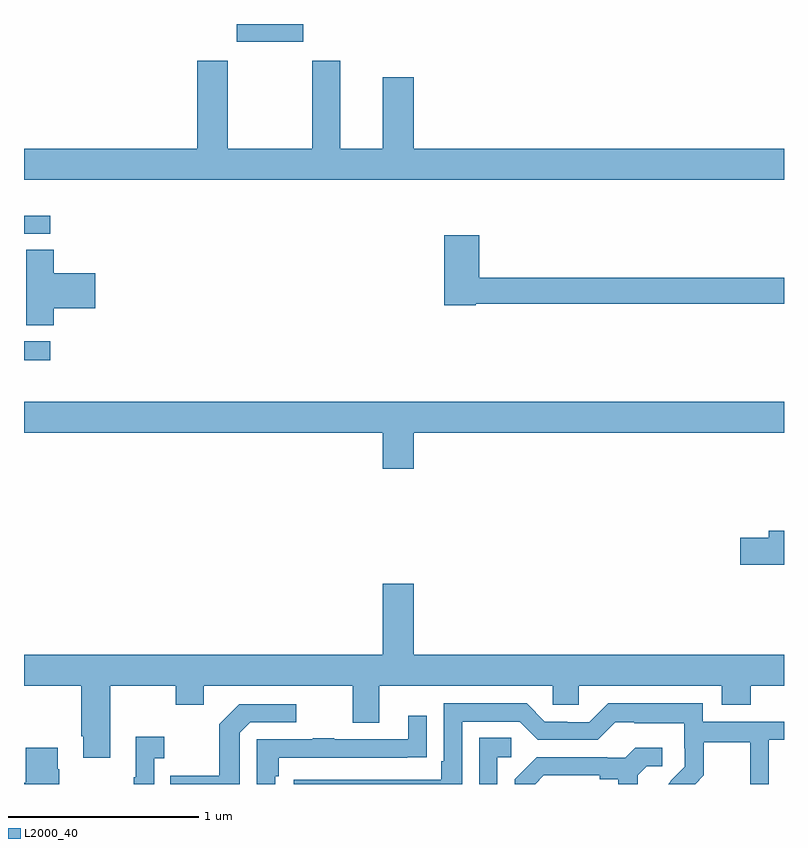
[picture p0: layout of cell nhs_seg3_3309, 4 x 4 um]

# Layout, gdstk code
import gdstk
lib = gdstk.Library(unit=1e-6, precision=1e-09)
def R(c, l, rs):  # rectangles x0, y0, x1, y1
    for r in rs: c.add(gdstk.rectangle(r[:2], r[2:], *l))
def P(c, l, *ps):  # polygons
    for p in ps: c.add(gdstk.Polygon(p, *l))
L2000_40 = (2000, 40)

nhs_seg3_3309 = lib.new_cell('nhs_seg3_3309')
R(nhs_seg3_3309, L2000_40, [(283,702.631,283.138,702.729), (283,703.296,283.138,703.392), (284.12,704.306,284.47,704.4)])
P(nhs_seg3_3309, L2000_40, [(287,703.744),(285.052,703.744),(285.052,704.119),(284.888,704.119),(284.888,703.744),(284.665,703.744),(284.665,704.206),(284.518,704.206),(284.518,703.744),(284.073,703.744),(284.073,704.206),(283.913,704.206),(283.913,703.744),(283,703.744),(283,703.58),(287,703.58)],
  [(285.378,702.928),(287,702.928),(287,703.064),(285.395,703.064),(285.395,703.288),(285.212,703.288),(285.212,702.92),(285.378,702.92)],
  [(283.157,702.905),(283.375,702.905),(283.375,703.088),(283.157,703.088),(283.157,703.211),(283.013,703.211),(283.013,702.814),(283.157,702.814)],
  [(285.052,702.248),(287,702.248),(287,702.412),(283,702.412),(283,702.248),(284.888,702.248),(284.888,702.06),(285.052,702.06)],
  [(287,701.732),(286.919,701.732),(286.919,701.696),(286.77,701.696),(286.77,701.554),(287,701.554)],
  [(283.453,700.916),(283.798,700.916),(283.798,700.817),(283.945,700.817),(283.945,700.916),(284.729,700.916),(284.729,700.722),(284.869,700.722),(284.869,700.916),(285.783,700.916),(285.783,700.818),(285.921,700.818),(285.921,700.916),(286.673,700.916),(286.673,700.817),(286.826,700.817),(286.826,700.916),(287,700.916),(287,701.08),(285.052,701.08),(285.052,701.455),(284.888,701.455),(284.888,701.08),(283,701.08),(283,700.916),(283.301,700.916),(283.301,700.651),(283.313,700.651),(283.313,700.539),(283.453,700.539)],
  [(285.306,700.728),(285.609,700.728),(285.705,700.632),(286.02,700.632),(286.113,700.725),(286.213,700.725),(286.213,700.721),(286.476,700.721),(286.476,700.587),(286.478,700.587),(286.478,700.49),(286.404,700.416),(286.405,700.415),(286.39,700.4),(286.532,700.4),(286.577,700.445),(286.577,700.62),(286.822,700.62),(286.822,700.4),(286.92,700.4),(286.92,700.632),(287,700.632),(287,700.728),(286.572,700.728),(286.572,700.825),(286.075,700.825),(285.975,700.725),(285.86,700.725),(285.86,700.728),(285.741,700.728),(285.645,700.824),(285.21,700.824),(285.21,700.519),(285.197,700.519),(285.197,700.422),(284.421,700.422),(284.421,700.4),(285.306,700.4)],
  [(284.136,700.671),(284.19,700.725),(284.434,700.725),(284.434,700.821),(284.133,700.821),(284.028,700.715),(284.028,700.443),(283.771,700.443),(283.771,700.4),(284.136,700.4)],
  [(284.322,700.442),(284.342,700.442),(284.342,700.539),(285.017,700.539),(285.017,700.54),(285.119,700.54),(285.119,700.759),(285.023,700.759),(285.023,700.635),(284.633,700.635),(284.633,700.64),(284.521,700.64),(284.521,700.635),(284.226,700.635),(284.226,700.4),(284.322,700.4)],
  [(283.686,700.535),(283.738,700.535),(283.738,700.648),(283.589,700.648),(283.589,700.435),(283.578,700.435),(283.578,700.4),(283.686,700.4)],
  [(285.492,700.542),(285.565,700.542),(285.565,700.643),(285.396,700.643),(285.396,700.4),(285.492,700.4)],
  [(283.185,700.478),(283.177,700.478),(283.177,700.591),(283.01,700.591),(283.01,700.406),(283,700.406),(283,700.4),(283.185,700.4)],
  [(285.736,700.446),(286.031,700.446),(286.031,700.424),(286.127,700.424),(286.127,700.4),(286.231,700.4),(286.231,700.447),(286.278,700.494),(286.36,700.494),(286.36,700.591),(286.216,700.591),(286.164,700.539),(286.07,700.539),(286.07,700.542),(285.698,700.542),(285.582,700.426),(285.582,700.4),(285.69,700.4)])

lib.write_gds('nhs_seg3_3309.gds')
